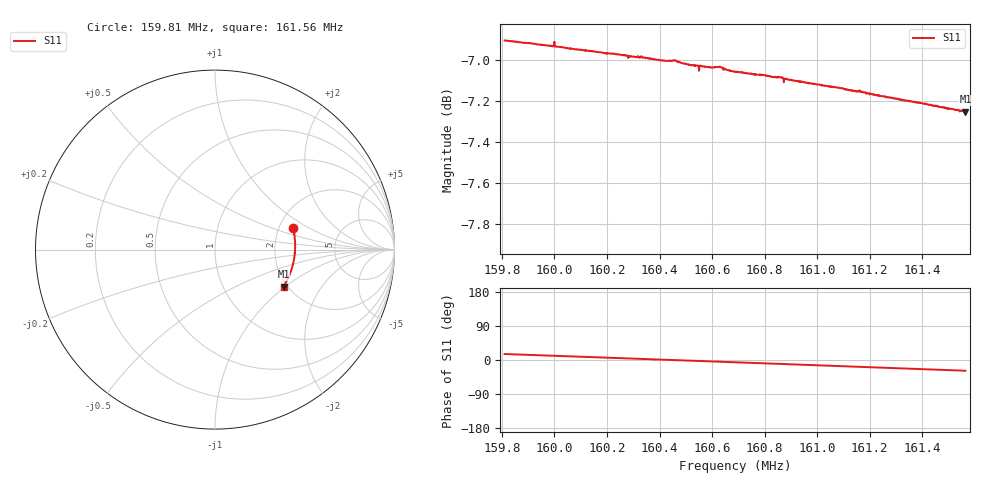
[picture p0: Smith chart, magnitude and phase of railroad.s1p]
! Calibrated averaged scanner-service zoom
# Hz S RI R 50
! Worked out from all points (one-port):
!   1001 points, 159.81 MHz to 161.56 MHz, reference 50 ohm
!   lowest |S11| = -7.3 dB at 161.56 MHz (marker M1), VSWR 2.53, Z = 95.6 - j48.5 ohm
!   |S11| at or under -10 dB: nowhere
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1.5981e8  0.4345 0.1227
1.598188e8  0.435 0.121
1.599118e8  0.4388 0.1034
1.599908e8  0.4413 0.0884
1.600294e8  0.4424 0.081
1.601417e8  0.4449 0.0594
1.602488e8  0.4463 0.0387
1.603383e8  0.4467 0.0213
1.604681e8  0.4463 -0.00401
1.605155e8  0.4452 -0.0132
1.605927e8  0.4439 -0.0282
1.606296e8  0.4437 -0.0343
1.606612e8  0.4421 -0.0414
1.606875e8  0.4412 -0.0465
1.607893e8  0.4379 -0.066
1.608261e8  0.4363 -0.0731
1.608612e8  0.4352 -0.0787
1.608823e8  0.4339 -0.0834
1.609069e8  0.4326 -0.0883
1.610087e8  0.4272 -0.1075
1.610771e8  0.423 -0.1203
1.611262e8  0.4197 -0.1293
1.612105e8  0.4135 -0.1446
1.613456e8  0.4026 -0.1687
1.614228e8  0.3957 -0.1821
1.614948e8  0.3889 -0.1945
1.615562e8  0.3827 -0.2046
1.61565e8  0.3817 -0.2062
